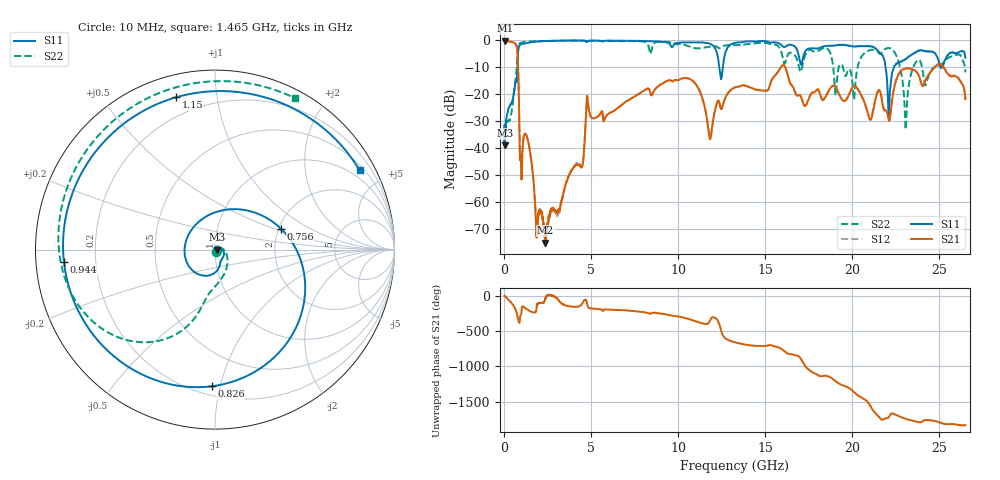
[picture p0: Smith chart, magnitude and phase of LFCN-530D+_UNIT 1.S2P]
!Created: 10-18-2013 at 09:06:06
!Mini-Circuits
!S2P DATA File Format
!Type: LOW PASS FILTER
!MODEL: LFCN-530D+
!S/N: Unit 1
!PIN OUT: PORT 1 - PIN 1, PORT 2 - PIN 3, GROUND - PIN 2,4
!TEST CONDITIONS: Z:50 OHM SYSTEM, INPUT POWER = -10dBm
!PROD RUN: MDC2360 DATE CODE: 1323
!REMARK: UNITS MOUNTED ON TB-270 RUN#MN43610 D/C 1336. PORT EXTENSION HAS BEEN DONE.
!TESTED ON: NETWORK ANALYZER MODEL AG N5242A S/N 71932 CAL DUE DATE 3/15/14
# MHZ S DB R 50
!Frequency  S11 dB  S11 DEG  S21 dB  S21 DEG  S12 dB  S12 DEG  S22 dB  S22 DEG
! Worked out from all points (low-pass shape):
!   4441 points, 10 MHz to 26.5 GHz, reference 50 ohm
!   highest |S21| = -0.14 dB at 17 MHz (marker M1); lowest = -75.1 dB at 2.345 GHz (marker M2)
!   |S21| within 3 dB of the highest: start of sweep to 730.3 MHz
!   lowest |S11| = -39.0 dB at 19 MHz (marker M3), VSWR 1.02, Z = 51.1 - j0.0824 ohm
!   |S11| at or under -10 dB: start of sweep to 746.7 MHz; 12.35 GHz to 12.55 GHz (198.9 MHz wide, 1.6 % of centre); 21.91 GHz to 22.38 GHz (473.3 MHz wide, 2.14 % of centre)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
!   |S22| runs from -40.2 to -0.1 dB; largest |S21 - S12| = 0.013
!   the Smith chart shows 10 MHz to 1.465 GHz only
!   S11 on the Smith chart (normalised r, x): 10 MHz: 1.02, -0.01; 756 MHz: 2.06, +0.56; 826 MHz: 0.26, -0.94; 944 MHz: 0.08, -0.04; 1.15 GHz: 0.11, +0.77; 1.465 GHz: 0.67, +3.79
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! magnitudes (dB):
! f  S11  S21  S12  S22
! 10 MHz  -38.8  -0.2  -0.1  -38.4
! 17 MHz  -37.0  -0.1  -0.1  -38.6
! 19 MHz  -39.0  -0.2  -0.2  -39.7
! 756 MHz  -8.3  -5.1  -5.1  -5.1
! 826 MHz  -2.4  -19.6  -19.6  -1.5
! 944 MHz  -1.5  -43.8  -43.8  -0.9
! 1.15 GHz  -1.2  -34.8  -34.8  -0.6
! 1.465 GHz  -0.7  -41.0  -41.0  -0.4
! 1.845 GHz  -0.4  -72.1  -73.2  -0.3
! 2.345 GHz  -0.3  -75.1  -72.5  -0.2
! 4.425 GHz  0.0  -47.2  -46.6  -0.1
! 4.795 GHz  -0.3  -22.7  -22.7  -0.6
! 8.84 GHz  -0.4  -17.0  -17.0  -0.5
! 10.8 GHz  -0.7  -14.9  -14.9  -2.6
! 11.83 GHz  -1.3  -36.7  -36.1  -2.2
! 13.26 GHz  -0.9  -17.4  -17.4  -1.8
! 17.67 GHz  -2.9  -19.5  -19.5  -3.8
! 20.06 GHz  -2.3  -17.1  -17.1  -19.8
! 22.09 GHz  -28.7  -29.5  -28.6  -2.8
! 23.08 GHz  -7.0  -10.5  -10.2  -32.0
! 23.73 GHz  -4.2  -12.0  -12.0  -7.5
! 26.5 GHz  -6.4  -21.8  -22.1  -11.9
